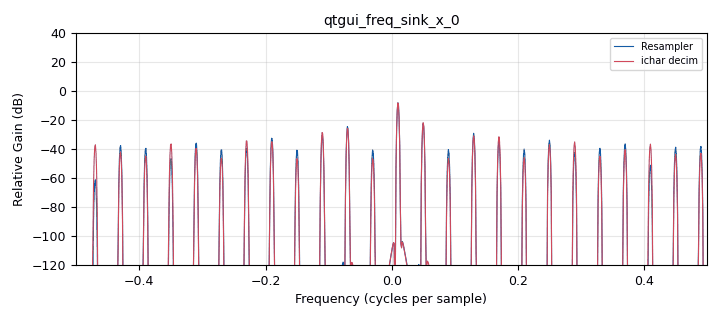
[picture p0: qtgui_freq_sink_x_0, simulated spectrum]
options:
  parameters:
    description: Adapted from GNU Radio's own example (gr-filter/examples/test_ichar_decim.grc).
    generate_options: qt_gui
    id: test_ichar_decim
    output_language: python
    title: IChar Decimator
  states: {}

blocks:
- name: analog_sig_source_x_0
  id: analog_sig_source_x
  parameters:
    offset: '0'
    phase: '0'
    samp_rate: samp_rate
    type: complex
    waveform: analog.GR_COS_WAVE
    frequency: '1000'
    amplitude: '127'
  states: {}
- name: blocks_complex_to_interleaved_char_0
  id: blocks_complex_to_interleaved_char
  parameters:
    scale_factor: '1.0'
    vector_output: 'False'
  states: {}
- name: blocks_complex_to_interleaved_char_0_0
  id: blocks_complex_to_interleaved_char
  parameters:
    scale_factor: '1.0'
    vector_output: 'False'
  states: {}
- name: blocks_interleaved_char_to_complex_0
  id: blocks_interleaved_char_to_complex
  parameters:
    scale_factor: '1.0'
    vector_input: 'False'
  states: {}
- name: blocks_interleaved_char_to_complex_0_0
  id: blocks_interleaved_char_to_complex
  parameters:
    scale_factor: '1.0'
    vector_input: 'False'
  states: {}
- name: blocks_throttle2_0
  id: blocks_throttle2
  parameters:
    samples_per_second: samp_rate
    type: complex
  states: {}
- name: decim
  id: variable
  parameters:
    value: '5'
  states: {}
- name: ival_decimator_0
  id: ival_decimator
  parameters:
    decimation: decim
  states: {}
- name: qtgui_freq_sink_x_0
  id: qtgui_freq_sink_x
  parameters:
    fc: '0'
    fftsize: '1024'
    label1: Resampler
    label2: ichar decim
    nconnections: '2'
    type: complex
    ymax: '40'
    ymin: '-120'
    samp_rate: samp_rate/decim
  states: {}
- name: rational_resampler_xxx_0
  id: rational_resampler_xxx
  parameters:
    decim: decim
    interp: '1'
    type: ccc
  states: {}
- name: samp_rate
  id: variable
  parameters:
    value: '500000'
  states: {}

connections:
- [analog_sig_source_x_0, '0', blocks_throttle2_0, '0']
- [blocks_complex_to_interleaved_char_0, '0', ival_decimator_0, '0']
- [blocks_complex_to_interleaved_char_0_0, '0', blocks_interleaved_char_to_complex_0_0, '0']
- [blocks_interleaved_char_to_complex_0, '0', qtgui_freq_sink_x_0, '1']
- [blocks_interleaved_char_to_complex_0_0, '0', qtgui_freq_sink_x_0, '0']
- [blocks_throttle2_0, '0', blocks_complex_to_interleaved_char_0, '0']
- [blocks_throttle2_0, '0', rational_resampler_xxx_0, '0']
- [ival_decimator_0, '0', blocks_interleaved_char_to_complex_0, '0']
- [rational_resampler_xxx_0, '0', blocks_complex_to_interleaved_char_0_0, '0']

metadata:
  file_format: 1
  grc_version: 3.10.10.0
